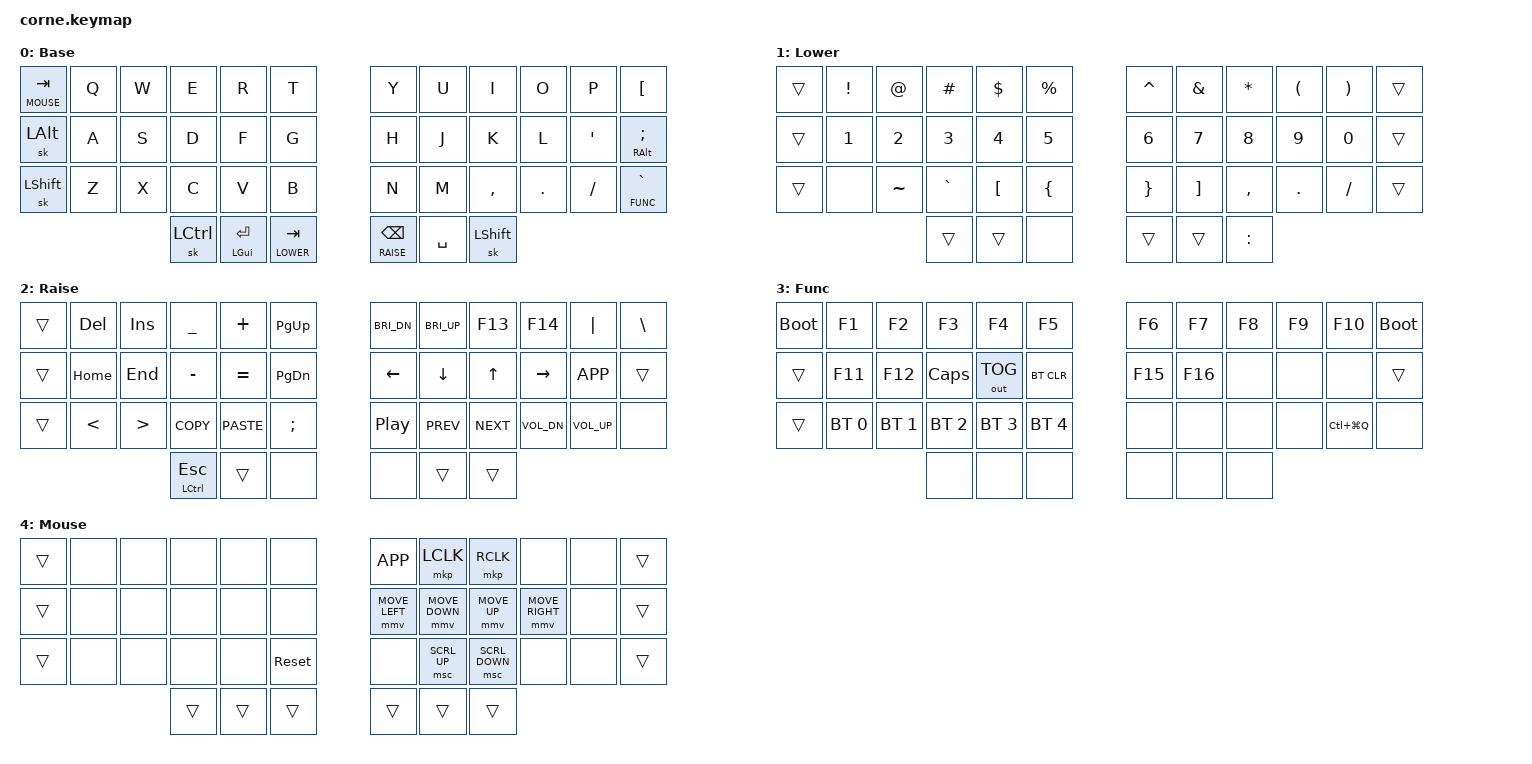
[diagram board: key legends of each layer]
/*
 * Corne Wireless View port of the QMK Cantor keymap
 * (~/dev/qmk_userspace/keyboards/cantor/keymaps/alexeypegov).
 *
 * Key positions:
 *   0  1  2  3  4  5     6  7  8  9 10 11
 *  12 13 14 15 16 17    18 19 20 21 22 23
 *  24 25 26 27 28 29    30 31 32 33 34 35
 *           36 37 38    39 40 41
 */

#include <behaviors.dtsi>
#include <dt-bindings/zmk/keys.h>
#include <dt-bindings/zmk/bt.h>
#include <dt-bindings/zmk/outputs.h>
#include <dt-bindings/zmk/pointing.h>

#define BASE   0
#define LOWER  1
#define RAISE  2
#define FUNC   3
#define MOUSE  4

// QMK: HOLD_ON_OTHER_KEY_PRESS + PERMISSIVE_HOLD, TAPPING_TERM 200.
// quick-tap-ms mirrors QMK's QUICK_TAP_TERM (defaults to TAPPING_TERM):
// tap then hold repeats the tap key instead of activating the hold.
&mt {
    flavor = "hold-preferred";
    tapping-term-ms = <200>;
    quick-tap-ms = <200>;
};

&lt {
    flavor = "hold-preferred";
    tapping-term-ms = <200>;
    quick-tap-ms = <200>;
};

// QMK: ONESHOT_TIMEOUT 2000
// quick-release: release on the next key press (not its release), so fast
// rolls after a one-shot Shift don't capitalize two letters.
&sk {
    release-after-ms = <2000>;
    quick-release;
};

/ {
    behaviors {
        // QMK: TAPPING_TERM_THUMB 125 for the Lower/Raise thumb keys
        lt_th: layer_tap_thumb {
            compatible = "zmk,behavior-hold-tap";
            #binding-cells = <2>;
            flavor = "hold-preferred";
            tapping-term-ms = <125>;
            quick-tap-ms = <200>;
            bindings = <&mo>, <&kp>;
        };

        // Tab/Mouse on the top-left key: tap-preferred, so fast rolls off Tab
        // never trigger the Mouse layer; it activates only after a real hold.
        lt_mouse: layer_tap_mouse {
            compatible = "zmk,behavior-hold-tap";
            #binding-cells = <2>;
            flavor = "tap-preferred";
            tapping-term-ms = <200>;
            quick-tap-ms = <200>;
            bindings = <&mo>, <&kp>;
        };
    };

    // QMK: COMBO_TERM 40. Letter-key combos require a 150 ms typing pause,
    // otherwise fast rolls (e.g. Russian "ва" on D+F) get eaten by the combo.
    combos {
        compatible = "zmk,combos";

        // D+F on Base, 3+4 on Lower
        combo_dash {
            timeout-ms = <40>;
            require-prior-idle-ms = <150>;
            key-positions = <15 16>;
            bindings = <&kp MINUS>;
            layers = <BASE LOWER>;
        };

        // For Vim, Escape on the home row. JK overlaps the Russian bigram "ол",
        // so only fire after a typing pause (QMK used must-hold for this).
        combo_esc {
            timeout-ms = <40>;
            require-prior-idle-ms = <150>;
            key-positions = <19 20>;
            bindings = <&kp ESC>;
            layers = <BASE>;
        };

        // In Russian Cantor 42, Shift+Option+/ emits question mark.
        combo_ques {
            timeout-ms = <40>;
            require-prior-idle-ms = <150>;
            key-positions = <32 33>;
            bindings = <&kp LS(LA(FSLH))>;
            layers = <BASE>;
        };

        // In Russian Cantor 42, Option+M emits hard sign.
        combo_hard {
            timeout-ms = <40>;
            require-prior-idle-ms = <150>;
            key-positions = <31 32>;
            bindings = <&kp LA(M)>;
            layers = <BASE>;
        };

        // Cmd/Enter thumb is Cmd on hold, so Cmd+Enter can't be typed with it.
        combo_cmd_ent {
            timeout-ms = <40>;
            require-prior-idle-ms = <150>;
            key-positions = <20 21>;
            bindings = <&kp LG(RET)>;
            layers = <BASE>;
        };

        // Both one-shot Shifts (left pinky + right thumb) toggle Caps Word.
        // Only Latin letters are capitalized: ж э б ю х live on punctuation keys.
        // 60 ms (not 40): the two Shifts are pressed by different hands.
        combo_caps_word {
            timeout-ms = <60>;
            key-positions = <24 41>;
            bindings = <&caps_word>;
            layers = <BASE>;
        };
    };

    keymap {
        compatible = "zmk,keymap";

        base_layer {
            display-name = "Base";
            bindings = <
   &lt_mouse MOUSE TAB &kp Q &kp W &kp E &kp R &kp T      &kp Y &kp U &kp I     &kp O   &kp P    &kp LBKT
   &sk LALT   &kp A &kp S &kp D &kp F &kp G      &kp H &kp J &kp K     &kp L   &kp SQT  &mt RALT SEMI
   &sk LSHFT  &kp Z &kp X &kp C &kp V &kp B      &kp N &kp M &kp COMMA &kp DOT &kp FSLH &lt FUNC GRAVE
                 &sk LCTRL &mt LGUI RET &lt_th LOWER TAB   &lt_th RAISE BSPC &kp SPACE &sk LSHFT
            >;
        };

        lower_layer {
            display-name = "Lower";
            bindings = <
   &trans &kp EXCL &kp AT    &kp HASH  &kp DLLR &kp PRCNT    &kp CARET &kp AMPS &kp STAR  &kp LPAR &kp RPAR &trans
   &trans &kp N1   &kp N2    &kp N3    &kp N4   &kp N5       &kp N6    &kp N7   &kp N8    &kp N9   &kp N0   &trans
   &trans &none    &kp TILDE &kp GRAVE &kp LBKT &kp LBRC     &kp RBRC  &kp RBKT &kp COMMA &kp DOT  &kp FSLH &trans
                             &trans    &trans   &none        &trans    &trans   &kp COLON
            >;
        };

        raise_layer {
            display-name = "Raise";
            bindings = <
   &trans &kp DEL  &kp INS  &kp UNDER  &kp PLUS    &kp PG_UP    &kp C_BRI_DN &kp C_BRI_UP &kp F13    &kp F14      &kp PIPE     &kp BSLH
   &trans &kp HOME &kp END  &kp MINUS  &kp EQUAL   &kp PG_DN    &kp LEFT     &kp DOWN     &kp UP     &kp RIGHT    &kp K_APP    &trans
   &trans &kp LT   &kp GT   &kp K_COPY &kp K_PASTE &kp SEMI     &kp C_PP     &kp C_PREV   &kp C_NEXT &kp C_VOL_DN &kp C_VOL_UP &none
                            &mt LCTRL ESC &trans   &none        &none        &trans       &trans
            >;
        };

        func_layer {
            display-name = "Func";
            bindings = <
   &bootloader &kp F1       &kp F2       &kp F3       &kp F4       &kp F5          &kp F6  &kp F7  &kp F8 &kp F9 &kp F10       &bootloader
   &trans      &kp F11      &kp F12      &kp CAPS     &out OUT_TOG &bt BT_CLR      &kp F15 &kp F16 &none  &none  &none         &trans
   &trans      &bt BT_SEL 0 &bt BT_SEL 1 &bt BT_SEL 2 &bt BT_SEL 3 &bt BT_SEL 4    &none   &none   &none  &none  &kp LC(LG(Q)) &none
                                         &none        &none        &none           &none   &none   &none
            >;
        };

        // Hold the top-left Tab key.
        // B resets the left (central) half: reachable without the right half,
        // to recover when the right half fails to reconnect.
        mouse_layer {
            display-name = "Mouse";
            bindings = <
   &trans &none &none &none &none &none     &kp K_APP      &mkp LCLK          &mkp RCLK        &none           &none &trans
   &trans &none &none &none &none &none     &mmv MOVE_LEFT &mmv MOVE_DOWN     &mmv MOVE_UP     &mmv MOVE_RIGHT &none &trans
   &trans &none &none &none &none &sys_reset &none         &msc SCRL_UP       &msc SCRL_DOWN   &none           &none &trans
                      &trans &trans &trans  &trans &trans &trans
            >;
        };

        extra_1 {
            status = "reserved";
        };

        extra_2 {
            status = "reserved";
        };
    };
};
